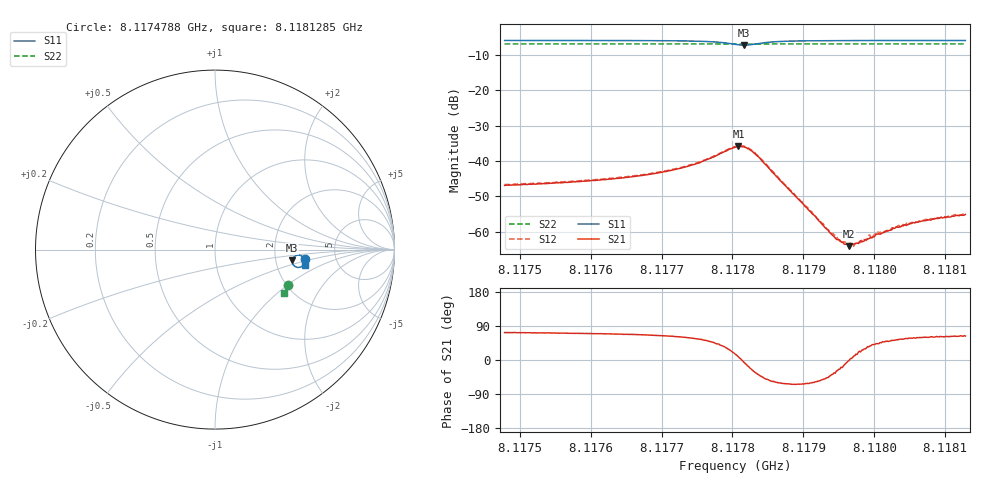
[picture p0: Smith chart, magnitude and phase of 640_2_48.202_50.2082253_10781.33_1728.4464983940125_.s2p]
#  HZ  S  RI  R  50.00
! Rohde & Schwarz Vector Network Analyzer
! Rohde-Schwarz,ZNB20-2Port,1311601062101988,3.16
! Created: UTC 3/20/2024, 12:04:47 PM
! freq[Hz]  re:S11  im:S11  re:S21  im:S21  re:S12  im:S12  re:S22  im:S22
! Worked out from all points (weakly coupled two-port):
!   401 points, 8.1174788 GHz to 8.1181285 GHz, reference 50 ohm
!   highest |S21| = -35.89 dB at 8.1178085 GHz (marker M1); lowest = -64.0 dB at 8.1179644 GHz (marker M2)
!   lowest |S11| = -7.2 dB at 8.1178166 GHz (marker M3), VSWR 2.54, Z = 124 - j18.2 ohm
!   |S11| at or under -10 dB: nowhere
!   |S22| runs from -6.9 to -6.8 dB; largest |S21 - S12| = 0.00053
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8.11747878e9  0.5041 -0.0527  0.00136 0.0043  0.00143 0.00441  0.406 -0.1999
8.11758761e9  0.5021 -0.0636  0.00176 0.00484  0.00184 0.00496  0.4028 -0.2069
8.11763471e9  0.5007 -0.0693  0.00206 0.00525  0.00215 0.0053  0.4013 -0.2099
8.11769643e9  0.4968 -0.0788  0.0029 0.00616  0.00301 0.00628  0.3991 -0.2142
8.11775165e9  0.4863 -0.0917  0.00531 0.00768  0.00545 0.00785  0.397 -0.2179
8.11780362e9  0.4381 -0.0872  0.015 0.00436  0.0154 0.0044  0.3935 -0.2202
8.1178085e9  0.4328 -0.0784  0.0159 0.00223  0.0162 0.00229  0.3932 -0.22
8.11781662e9  0.4306 -0.0598  0.0157 -0.00189  0.016 -0.00183  0.3932 -0.2197
8.11782636e9  0.4408 -0.0402  0.0128 -0.00564  0.0132 -0.00588  0.3935 -0.2195
8.11783611e9  0.4571 -0.0315  0.00907 -0.00716  0.00917 -0.00745  0.3941 -0.2199
8.11791245e9  0.4985 -0.0572  0.000891 -0.00155  0.000934 -0.00163  0.3932 -0.2261
8.11793681e9  0.4997 -0.0628  0.00072 -0.000667  0.0007 -0.000685  0.3926 -0.2277
8.11794493e9  0.5 -0.0645  0.00067 -0.000466  0.000736 -0.000501  0.3922 -0.2282
8.11795143e9  0.5001 -0.0657  0.000692 -0.00031  0.000659 -0.000312  0.3919 -0.2287
8.11796442e9  0.5003 -0.068  0.00063 -1.54e-05  0.000661 3.11e-05  0.3915 -0.2296
8.11797416e9  0.5004 -0.0695  0.000656 0.000182  0.000644 0.000222  0.3912 -0.2303
8.11799853e9  0.5003 -0.073  0.000643 0.000555  0.000681 0.000542  0.3905 -0.2318
8.1180034e9  0.5002 -0.0737  0.000676 0.000636  0.000678 0.000627  0.3902 -0.2321
8.11802127e9  0.5002 -0.076  0.000672 0.000799  0.00067 0.000811  0.3897 -0.2331
8.11803751e9  0.5 -0.078  0.000675 0.00096  0.000709 0.000962  0.3891 -0.2342
8.11806674e9  0.4997 -0.0813  0.000719 0.00122  0.000721 0.00122  0.388 -0.236
8.11812846e9  0.499 -0.0874  0.000789 0.00157  0.00082 0.00157  0.3859 -0.2398
